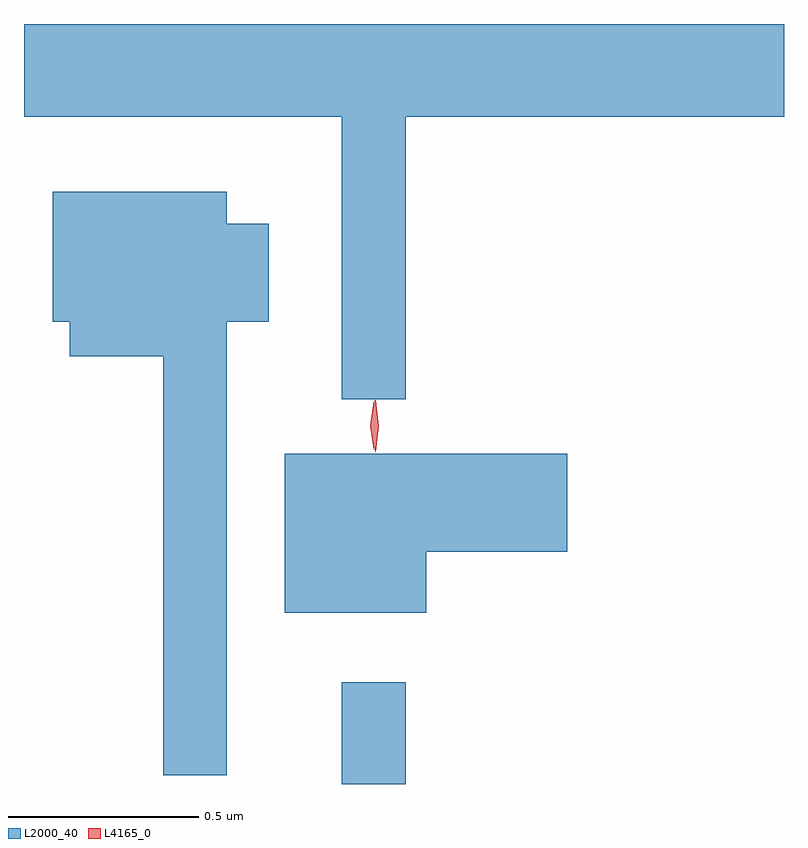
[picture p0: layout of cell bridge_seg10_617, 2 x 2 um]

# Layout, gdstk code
import gdstk
lib = gdstk.Library(unit=1e-6, precision=1e-09)
def R(c, l, rs):  # rectangles x0, y0, x1, y1
    for r in rs: c.add(gdstk.rectangle(r[:2], r[2:], *l))
def P(c, l, *ps):  # polygons
    for p in ps: c.add(gdstk.Polygon(p, *l))
L2000_40 = (2000, 40)
L4165_0 = (4165, 0)

bridge_seg10_617 = lib.new_cell('bridge_seg10_617')
R(bridge_seg10_617, L2000_40, [(677.771,2165.44,677.939,2165.708)])
P(bridge_seg10_617, L2000_40, [(677.939,2167.196),(678.935,2167.196),(678.935,2167.44),(676.935,2167.44),(676.935,2167.196),(677.771,2167.196),(677.771,2166.453),(677.939,2166.453)],
  [(677.469,2166.656),(677.579,2166.656),(677.579,2166.914),(677.469,2166.914),(677.469,2166.999),(677.011,2166.999),(677.011,2166.656),(677.056,2166.656),(677.056,2166.566),(677.301,2166.566),(677.301,2165.463),(677.469,2165.463)],
  [(677.994,2166.051),(678.364,2166.051),(678.364,2166.309),(677.621,2166.309),(677.621,2165.891),(677.994,2165.891)])
P(bridge_seg10_617, L4165_0, [(677.856,2166.32),(677.855,2166.321),(677.846,2166.383),(677.855,2166.446),(677.855,2166.447),(677.856,2166.446),(677.865,2166.384),(677.856,2166.321)],
  [(677.859,2166.314),(677.85,2166.382),(677.858,2166.45),(677.859,2166.45),(677.86,2166.45),(677.869,2166.382),(677.86,2166.314),(677.86,2166.314)])

lib.write_gds('bridge_seg10_617.gds')
